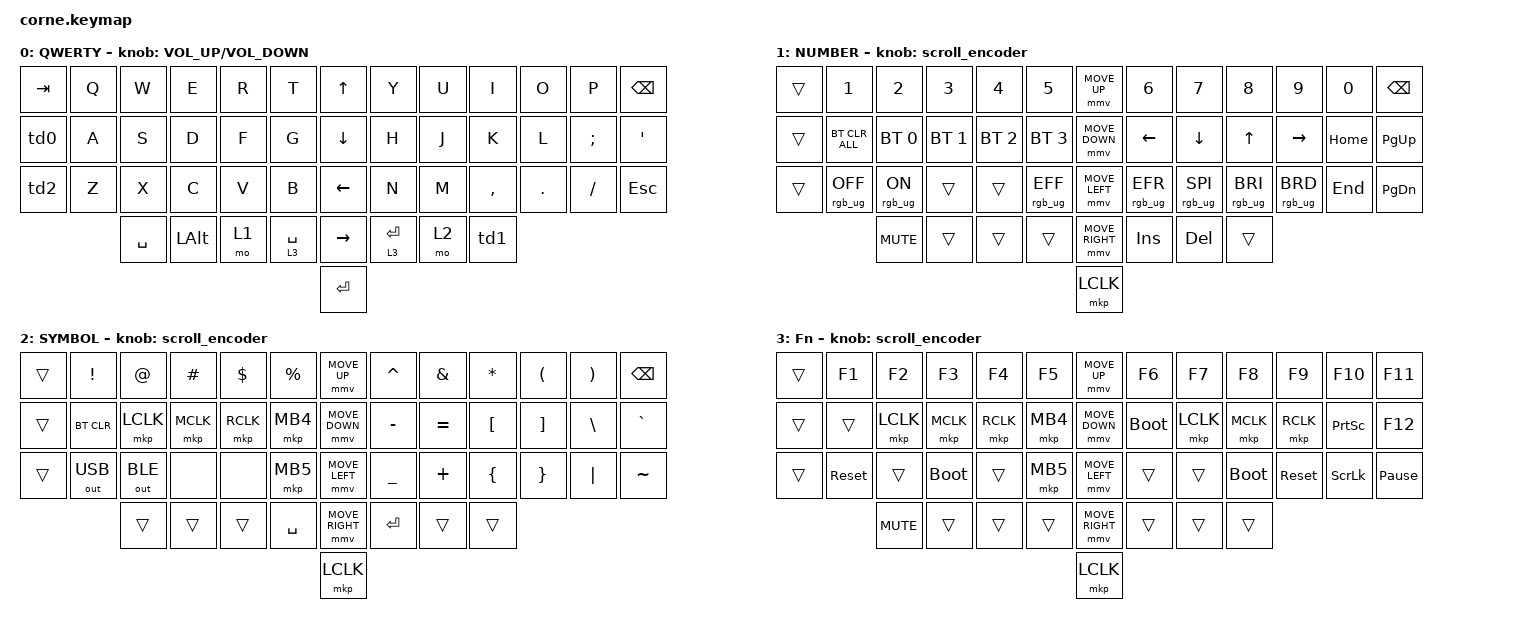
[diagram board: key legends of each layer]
#include <behaviors/mouse_keys.dtsi>
#include <behaviors.dtsi>
#include <dt-bindings/zmk/bt.h>
#include <dt-bindings/zmk/keys.h>
#include <dt-bindings/zmk/mouse.h>
#include <dt-bindings/zmk/outputs.h>
#include <dt-bindings/zmk/rgb.h>

#define ZMK_MOUSE_DEFAULT_MOVE_VAL 1200  // 600
#define ZMK_MOUSE_DEFAULT_SCRL_VAL 20    // 10
#define U_MS_U &mmv MOVE_UP
#define U_MS_D &mmv MOVE_DOWN
#define U_MS_L &mmv MOVE_LEFT
#define U_MS_R &mmv MOVE_RIGHT

/ {
    behaviors {
        td0: td0 {
            compatible = "zmk,behavior-tap-dance";
            label = "TD0";
            #binding-cells = <0>;
            bindings = <&kp LEFT_SHIFT>, <&kp CAPS>;
        };

        td1: td1 {
            compatible = "zmk,behavior-tap-dance";
            label = "TD1";
            #binding-cells = <0>;
            bindings = <&kp RALT>, <&kp LGUI>;
        };

        td2: td2 {
            compatible = "zmk,behavior-tap-dance";
            label = "TD2";
            #binding-cells = <0>;
            bindings = <&kp LCTRL>, <&kp RCTRL>;
        };

        mmv {
            acceleration-exponent = <1>;      // 1
            time-to-max-speed-ms = <900>;    // 40
            delay-ms = <0>;                   // 0
        };

        msc {
            acceleration-exponent = <1>;      // 0
            time-to-max-speed-ms = <400>;      // 500
            delay-ms = <0>;                   // 10
        };
    };

    rgb_encoder: rgb_encoder {
        compatible = "zmk,behavior-sensor-rotate";
        label = "RGB_ENCODER";
        #sensor-binding-cells = <0>;
        bindings = <&rgb_ug RGB_BRI>, <&rgb_ug RGB_BRD>;
    };

    scroll_encoder: scroll_encoder {
        compatible = "zmk,behavior-sensor-rotate";
        #sensor-binding-cells = <0>;
        bindings = <&msc SCRL_DOWN>, <&msc SCRL_UP>;

        tap-ms = <30>;
    };

    keymap {
        compatible = "zmk,keymap";

        default_layer {
            display-name = "QWERTY";

            // --------------------------------------------------------------------------------
            // |  TAB |  Q  |  W  |  E  |  R  |  T  |                ↑    |  Y  |  U   |  I  |  O  |  P  | BKSP |      &kp UP_ARROW 
            // | SHIFT |  A  |  S  |  D  |  F  |  G  |               ↓    |  H  |  J   |  K  |  L  |  ;  |  '   | 
            // | CTRL |  Z  |  X  |  C  |  V  |  B  |                ←    |  N  |  M   |  ,  |  .  |  /  | ESC  |
            //                    | GUI | LWR | SPC |                →    | ENT | RSE  | ALT |
            //                                                      enter

            bindings = <
&kp TAB  &kp Q  &kp W      &kp E     &kp R  &kp T          &kp UP_ARROW     &kp Y        &kp U  &kp I      &kp O    &kp P     &kp BSPC
&td0     &kp A  &kp S      &kp D     &kp F  &kp G          &kp DOWN_ARROW   &kp H        &kp J  &kp K      &kp L    &kp SEMI  &kp SQT
&td2     &kp Z  &kp X      &kp C     &kp V  &kp B          &kp LEFT_ARROW   &kp N        &kp M  &kp COMMA  &kp DOT  &kp FSLH  &kp ESC
                &kp SPACE  &kp LALT  &mo 1  &lt 3 SPACE    &kp RIGHT_ARROW  &lt 3 ENTER  &mo 2  &td1
                                                           &kp ENTER
            >;

            label = "QWERTY";
            sensor-bindings = <&inc_dec_kp C_VOLUME_UP C_VOLUME_DOWN>;
        };

        lower_layer {
            display-name = "NUMBER";

            // -----------------------------------------------------------------------------------------
            // |  TAB |  1  |  2  |  3  |  4  |  5  |   |  6  |  7  |  8  |  9  |  0  | BKSP |
            // | BTCLR| BT1 | BT2 | BT3 | BT4 | BT5 |   | LFT | DWN |  UP | RGT |     |      |
            // | SHFT |     |     |     |     |     |   |     |     |     |     |     |      |
            //                    | GUI |     | SPC |   | ENT |     | ALT |

            bindings = <
&trans  &kp N1           &kp N2          &kp N3        &kp N4        &kp N5             &mmv MOVE_UP     &kp N6           &kp N7           &kp N8           &kp N9           &kp N0    &kp BSPC
&trans  &bt BT_CLR_ALL   &bt BT_SEL 0    &bt BT_SEL 1  &bt BT_SEL 2  &bt BT_SEL 3       &mmv MOVE_DOWN   &kp LEFT         &kp DOWN         &kp UP           &kp RIGHT        &kp HOME  &kp PG_UP
&trans  &rgb_ug RGB_OFF  &rgb_ug RGB_ON  &trans        &trans        &rgb_ug RGB_EFF    &mmv MOVE_LEFT   &rgb_ug RGB_EFR  &rgb_ug RGB_SPI  &rgb_ug RGB_BRI  &rgb_ug RGB_BRD  &kp END   &kp PG_DN
                         &kp C_MUTE      &trans        &trans        &trans             &mmv MOVE_RIGHT  &kp INS          &kp DEL          &trans
                                                                                        &mkp LCLK
            >;

            label = "NUMBER";
            sensor-bindings = <&scroll_encoder>;
        };

        raise_layer {
            display-name = "SYMBOL";

            // -----------------------------------------------------------------------------------------
            // |  TAB |  !  |  @  |  #  |  $  |  %  |   |  ^  |  &  |  *  |  (  |  )  | BKSP |
            // | CTRL |     |     |     |     |     |   |  -  |  =  |  [  |  ]  |  \  |  `   |
            // | SHFT |     |     |     |     |     |   |  _  |  +  |  {  |  }  | "|" |  ~   |
            //                    | GUI |     | SPC |   | ENT |     | ALT |

            bindings = <
&trans  &kp EXCL      &kp AT        &kp HASH   &kp DLLR   &kp PRCNT    &mmv MOVE_UP     &kp CARET  &kp AMPS   &kp ASTRK  &kp LPAR  &kp RPAR  &kp BSPC
&trans  &bt BT_CLR    &mkp LCLK     &mkp MCLK  &mkp RCLK  &mkp MB4     &mmv MOVE_DOWN   &kp MINUS  &kp EQUAL  &kp LBKT   &kp RBKT  &kp BSLH  &kp GRAVE
&trans  &out OUT_USB  &out OUT_BLE  &none      &none      &mkp MB5     &mmv MOVE_LEFT   &kp UNDER  &kp PLUS   &kp LBRC   &kp RBRC  &kp PIPE  &kp TILDE
                      &trans        &trans     &trans     &kp SPACE    &mmv MOVE_RIGHT  &kp RET    &trans     &trans
                                                                       &mkp LCLK
            >;

            label = "SYMBOL";
            sensor-bindings = <&scroll_encoder>;
        };

        layer_3 {
            display-name = "Fn";
            bindings = <
&trans  &kp F1      &kp F2      &kp F3       &kp F4     &kp F5      &mmv MOVE_UP     &kp F6       &kp F7     &kp F8       &kp F9      &kp F10          &kp F11
&trans  &trans      &mkp LCLK   &mkp MCLK    &mkp RCLK  &mkp MB4    &mmv MOVE_DOWN   &bootloader  &mkp LCLK  &mkp MCLK    &mkp RCLK   &kp PRINTSCREEN  &kp F12
&trans  &sys_reset  &trans      &bootloader  &trans     &mkp MB5    &mmv MOVE_LEFT   &trans       &trans     &bootloader  &sys_reset  &kp SCROLLLOCK   &kp PAUSE_BREAK
                    &kp C_MUTE  &trans       &trans     &trans      &mmv MOVE_RIGHT  &trans       &trans     &trans
                                                                    &mkp LCLK
            >;

            label = "FN";
            sensor-bindings = <&scroll_encoder>;
        };
    };
};
